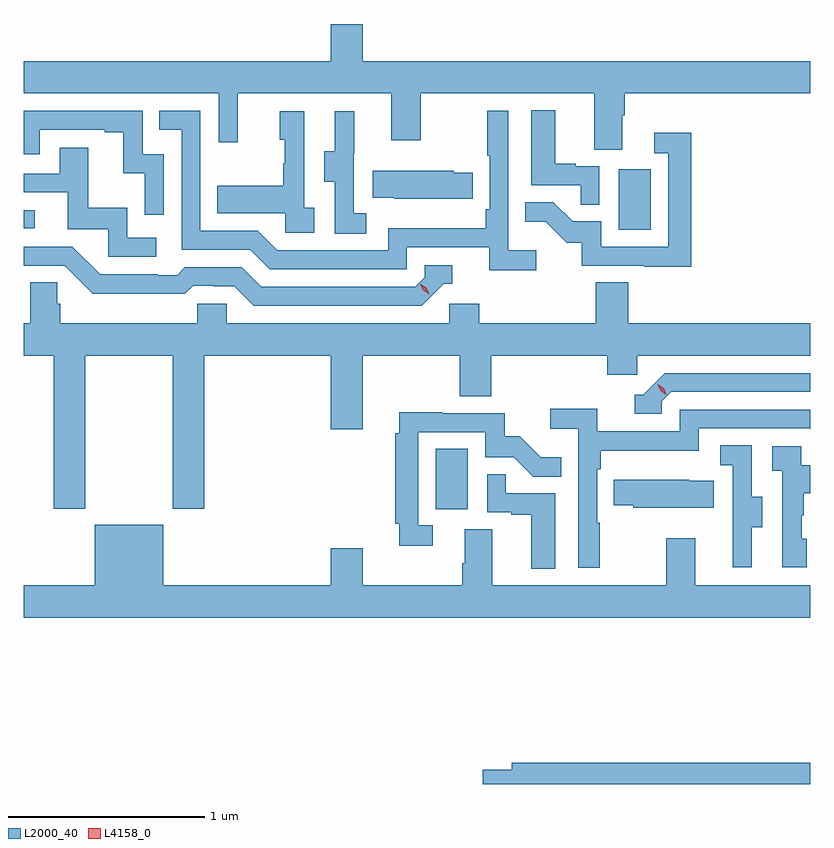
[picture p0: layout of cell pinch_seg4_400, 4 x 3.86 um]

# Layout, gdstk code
import gdstk
lib = gdstk.Library(unit=1e-6, precision=1e-09)
def R(c, l, rs):  # rectangles x0, y0, x1, y1
    for r in rs: c.add(gdstk.rectangle(r[:2], r[2:], *l))
def P(c, l, *ps):  # polygons
    for p in ps: c.add(gdstk.Polygon(p, *l))
L2000_40 = (2000, 40)
L4158_0 = (4158, 0)

pinch_seg4_400 = lib.new_cell('pinch_seg4_400')
R(pinch_seg4_400, L2000_40, [(968.738,780.054,968.902,780.361), (969.668,781.476,969.832,781.783), (966.643,781.482,966.7,781.575)])
P(pinch_seg4_400, L2000_40, [(969.685,782.056),(969.698,782.056),(969.698,782.168),(970.643,782.168),(970.643,782.332),(968.368,782.332),(968.368,782.521),(968.204,782.521),(968.204,782.332),(966.643,782.332),(966.643,782.168),(967.635,782.168),(967.635,781.92),(967.733,781.92),(967.733,782.168),(968.513,782.168),(968.513,781.929),(968.661,781.929),(968.661,782.168),(969.545,782.168),(969.545,781.882),(969.685,781.882)],
  [(969.57,781.797),(969.449,781.797),(969.449,781.81),(969.346,781.81),(969.346,782.083),(969.224,782.083),(969.224,781.701),(969.475,781.701),(969.475,781.603),(969.57,781.603)],
  [(969.25,781.372),(969.108,781.372),(969.108,782.08),(969,782.08),(969,781.852),(969.012,781.852),(969.012,781.579),(968.992,781.579),(968.992,781.483),(968.496,781.483),(968.496,781.371),(967.932,781.371),(967.833,781.47),(967.542,781.47),(967.542,782.079),(967.333,782.079),(967.333,781.983),(967.446,781.983),(967.446,781.374),(967.796,781.374),(967.895,781.275),(968.592,781.275),(968.592,781.386),(969.011,781.386),(969.011,781.27),(969.25,781.27)],
  [(967.356,781.86),(967.248,781.86),(967.248,782.079),(966.643,782.079),(966.643,781.86),(966.726,781.86),(966.726,781.983),(967.055,781.983),(967.055,781.971),(967.151,781.971),(967.151,781.763),(967.26,781.763),(967.26,781.551),(967.356,781.551)],
  [(968.386,781.559),(968.322,781.559),(968.322,781.863),(968.324,781.863),(968.324,782.077),(968.225,782.077),(968.225,781.875),(968.171,781.875),(968.171,781.72),(968.226,781.72),(968.226,781.456),(968.386,781.456)],
  [(968.122,781.586),(968.07,781.586),(968.07,782.077),(967.946,782.077),(967.946,781.932),(967.972,781.932),(967.972,781.814),(967.962,781.814),(967.962,781.699),(967.627,781.699),(967.627,781.559),(967.974,781.559),(967.974,781.461),(968.122,781.461)],
  [(970.037,781.969),(969.849,781.969),(969.849,781.863),(969.921,781.863),(969.921,781.389),(969.579,781.389),(969.579,781.518),(969.434,781.518),(969.336,781.616),(969.193,781.616),(969.193,781.517),(969.297,781.517),(969.404,781.41),(969.481,781.41),(969.481,781.293),(969.799,781.293),(969.799,781.288),(970.037,781.288)],
  [(967.318,781.434),(967.17,781.434),(967.17,781.588),(966.971,781.588),(966.971,781.891),(966.827,781.891),(966.827,781.761),(966.643,781.761),(966.643,781.665),(966.869,781.665),(966.869,781.479),(967.074,781.479),(967.074,781.338),(967.318,781.338)],
  [(968.927,781.764),(968.829,781.764),(968.829,781.774),(968.419,781.774),(968.419,781.637),(968.527,781.637),(968.527,781.634),(968.927,781.634)],
  [(968.778,781.2),(968.821,781.2),(968.821,781.296),(968.682,781.296),(968.682,781.233),(968.634,781.185),(967.851,781.185),(967.752,781.284),(967.463,781.284),(967.424,781.245),(967.325,781.245),(967.325,781.248),(967.032,781.248),(966.891,781.389),(966.643,781.389),(966.643,781.293),(966.852,781.293),(966.994,781.151),(967.23,781.151),(967.23,781.149),(967.463,781.149),(967.505,781.191),(967.608,781.191),(967.608,781.188),(967.715,781.188),(967.814,781.089),(968.667,781.089)],
  [(966.957,780.836),(967.402,780.836),(967.402,780.057),(967.562,780.057),(967.562,780.836),(968.204,780.836),(968.204,780.462),(968.368,780.462),(968.368,780.836),(968.86,780.836),(968.86,780.628),(969.02,780.628),(969.02,780.836),(969.611,780.836),(969.611,780.738),(969.762,780.738),(969.762,780.836),(970.643,780.836),(970.643,781),(969.716,781),(969.716,781.208),(969.551,781.208),(969.551,781),(968.96,781),(968.96,781.098),(968.808,781.098),(968.808,781),(967.677,781),(967.677,781.098),(967.527,781.098),(967.527,781),(966.83,781),(966.83,781.098),(966.815,781.098),(966.815,781.208),(966.678,781.208),(966.678,781),(966.643,781),(966.643,780.836),(966.797,780.836),(966.797,780.057),(966.957,780.057)],
  [(969.888,780.603),(969.936,780.651),(970.643,780.651),(970.643,780.747),(969.903,780.747),(969.792,780.636),(969.749,780.636),(969.749,780.54),(969.888,780.54)],
  [(969.571,779.987),(969.558,779.987),(969.558,780.257),(969.578,780.257),(969.578,780.353),(970.074,780.353),(970.074,780.465),(970.638,780.465),(970.643,780.46),(970.643,780.561),(969.978,780.561),(969.978,780.45),(969.56,780.45),(969.56,780.566),(969.321,780.566),(969.321,780.464),(969.462,780.464),(969.462,779.757),(969.571,779.757)],
  [(968.722,779.973),(968.649,779.973),(968.649,780.447),(968.991,780.447),(968.991,780.318),(969.136,780.318),(969.234,780.22),(969.377,780.22),(969.377,780.319),(969.273,780.319),(969.166,780.426),(969.09,780.426),(969.09,780.543),(968.771,780.543),(968.771,780.548),(968.552,780.548),(968.552,780.44),(968.533,780.44),(968.533,779.98),(968.552,779.98),(968.552,779.868),(968.722,779.868)],
  [(970.345,779.962),(970.399,779.962),(970.399,780.117),(970.344,780.117),(970.344,780.38),(970.185,780.38),(970.185,780.277),(970.248,780.277),(970.248,779.973),(970.247,779.973),(970.247,779.76),(970.345,779.76)],
  [(970.624,779.904),(970.599,779.904),(970.599,780.023),(970.609,780.023),(970.609,780.137),(970.643,780.137),(970.643,780.277),(970.596,780.277),(970.596,780.375),(970.449,780.375),(970.449,780.251),(970.5,780.251),(970.5,779.76),(970.624,779.76)],
  [(969.346,780.135),(969.095,780.135),(969.095,780.233),(969,780.233),(969,780.039),(969.121,780.039),(969.121,780.027),(969.224,780.027),(969.224,779.753),(969.346,779.753)],
  [(970.151,780.199),(970.026,780.199),(970.026,780.205),(969.643,780.205),(969.643,780.076),(969.741,780.076),(969.741,780.062),(970.151,780.062)],
  [(970.643,779.668),(970.057,779.668),(970.057,779.908),(969.91,779.908),(969.91,779.668),(969.025,779.668),(969.025,779.954),(968.885,779.954),(968.885,779.78),(968.873,779.78),(968.873,779.668),(968.368,779.668),(968.368,779.857),(968.204,779.857),(968.204,779.668),(967.354,779.668),(967.354,779.977),(967.004,779.977),(967.004,779.668),(966.643,779.668),(966.643,779.504),(970.643,779.504)],
  [(970.643,778.766),(969.125,778.766),(969.125,778.73),(968.976,778.73),(968.976,778.658),(970.643,778.658)])
P(pinch_seg4_400, L4158_0, [(969.911,780.636),(969.881,780.656),(969.866,780.689),(969.866,780.69),(969.866,780.69),(969.896,780.669),(969.911,780.636),(969.911,780.636)],
  [(968.705,781.147),(968.674,781.167),(968.659,781.2),(968.659,781.2),(968.659,781.2),(968.69,781.18),(968.705,781.147),(968.705,781.147)])

lib.write_gds('pinch_seg4_400.gds')
